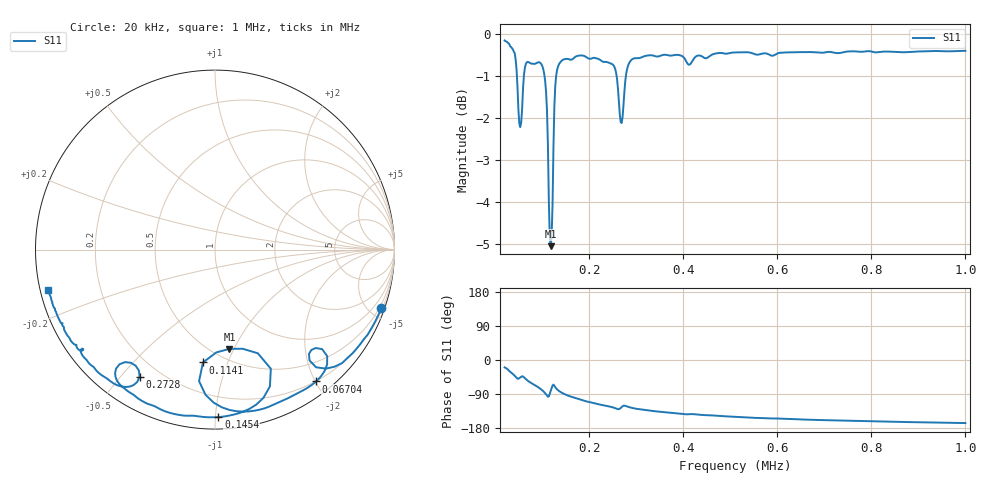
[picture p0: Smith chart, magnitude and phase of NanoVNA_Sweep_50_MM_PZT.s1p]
! NanoVNA MATLAB Controller & Analyzer Export
! Date: 29-Jul-2026 18:48:34
! Freq Range: 20.000 kHz - 1000.000 kHz (501 pts)
# Hz S RI R 50
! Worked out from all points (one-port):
!   501 points, 20 kHz to 1 MHz, reference 50 ohm
!   lowest |S11| = -5.1 dB at 118 kHz (marker M1), VSWR 3.53, Z = 29.9 - j48 ohm
!   |S11| at or under -10 dB: nowhere
!   S11 on the Smith chart (normalised r, x): 20 kHz: 0.29, -5.81; 67.04 kHz: 0.20, -2.01; 114.1 kHz: 0.39, -0.82; 145.4 kHz: 0.07, -1.02; 272.8 kHz: 0.13, -0.56; 1 MHz: 0.02, -0.12
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20000  0.9271 -0.3278
29800  0.8514 -0.4729
41560  0.7082 -0.6321
49400  0.5268 -0.6177
57240  0.5968 -0.5544
61160  0.6247 -0.6405
67040  0.5637 -0.7346
100360  0.1552 -0.9028
108200  -0.00702 -0.8529
114080  -0.067 -0.6288
118000  0.0806 -0.553
121920  0.2388 -0.5777
125840  0.306 -0.7621
131720  0.194 -0.8862
143480  0.0396 -0.9313
145440  0.0194 -0.9332
196400  -0.3209 -0.8806
255200  -0.5483 -0.7252
265000  -0.5011 -0.6268
272840  -0.4203 -0.7082
280680  -0.4923 -0.765
300280  -0.5857 -0.7308
388480  -0.7357 -0.5934
510000  -0.8236 -0.4764
633480  -0.8703 -0.385
755000  -0.8995 -0.3191
878480  -0.9148 -0.2654
1000000  -0.9289 -0.2245
